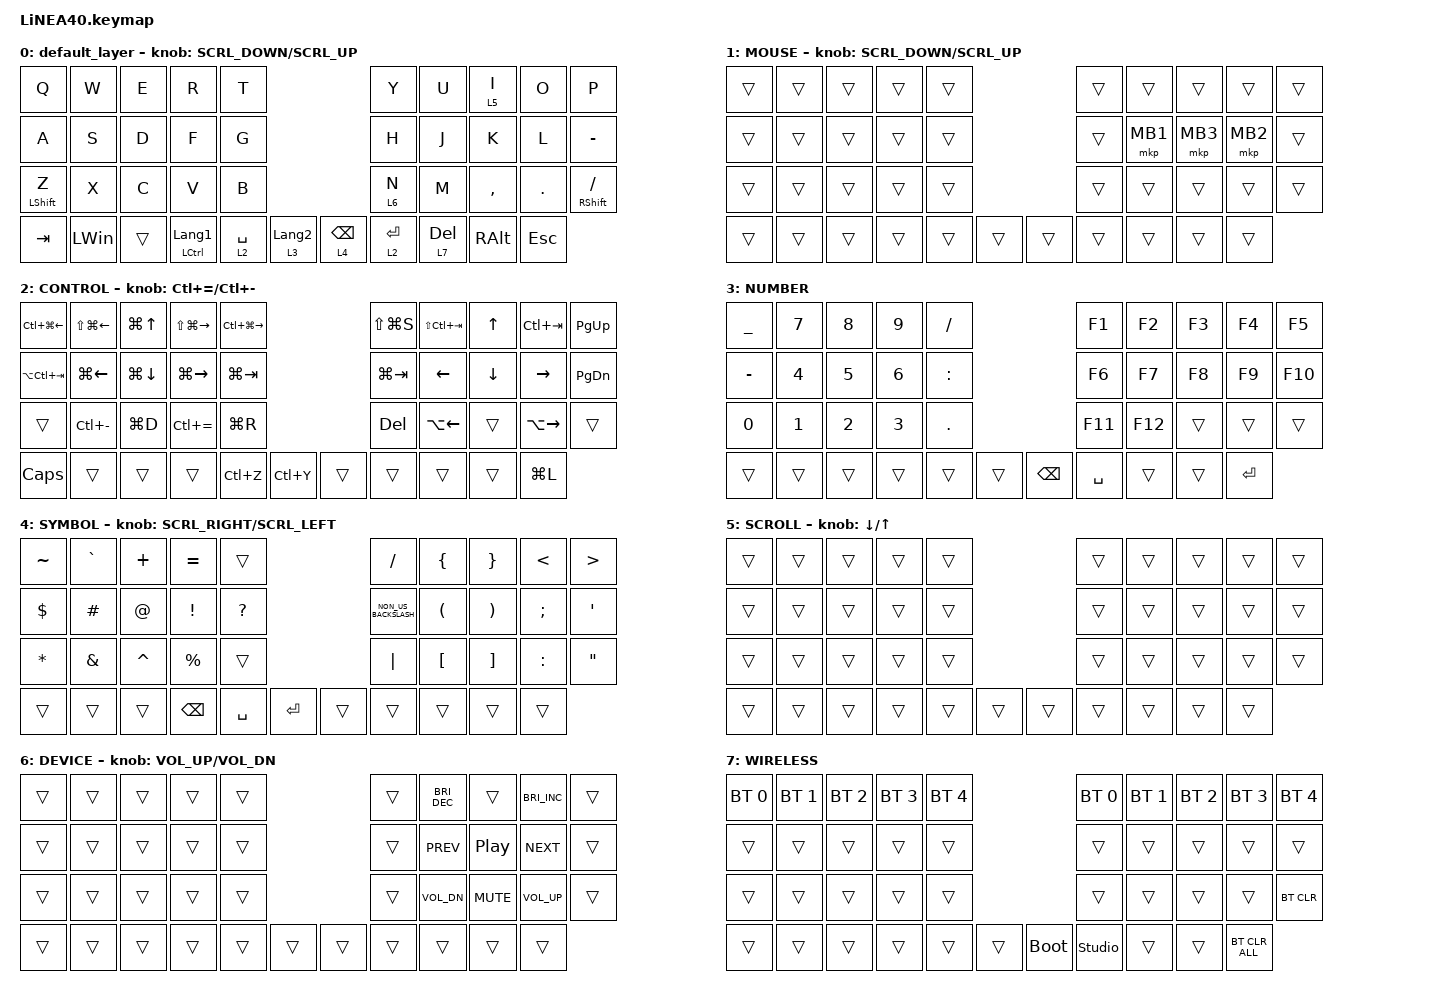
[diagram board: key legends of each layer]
#define ZMK_POINTING_DEFAULT_SCRL_VAL 150

#include <dt-bindings/zmk/input_transform.h>
#include <input/processors.dtsi>
#include <zephyr/dt-bindings/input/input-event-codes.h>
#include <behaviors.dtsi>
#include <dt-bindings/zmk/bt.h>
#include <dt-bindings/zmk/keys.h>
#include <dt-bindings/zmk/pointing.h>

#define MOUSE 1
#define MARK 2
#define CURSOR 3
#define FUNCTION 4
#define SCROLL 5
#define WIRELESS 6

//mouse cursol

&mmv {
    delay-ms = <20>;
    trigger-period-ms = <5>;
    time-to-max-speed-ms = <100>;
    acceleration-exponent = <2>;
};

//mouse scroll

&msc {
    delay-ms = <3>;
    trigger-period-ms = <3>;
    time-to-max-speed-ms = <100>;
    acceleration-exponent = <0>;
};

/ {
    input_processors {
        zip_wheel_scaler: zip_wheel_scaler {
            compatible = "zmk,input-processor-scaler";
            #input-processor-cells = <2>;
            type = <INPUT_EV_REL>;
            codes = <INPUT_REL_WHEEL>;
            track-remainders;
        };
    };
};

&msc_input_listener {
    speed_up {
        layers = <FUNCTION>;
        input-processors = <&zip_wheel_scaler 3 1>; //スクロールを3倍速にする
    };
};

&trackball_listener {
    scroller {
        layers = <SCROLL>;
        input-processors =
            <&zip_xy_transform INPUT_TRANSFORM_Y_INVERT>,
            //スクロール方向を逆転,,,,,,,,,,,,,,,,,,,,,,,,,,,,,,,,,,,,,,,,,,,,
            <&zip_xy_to_scroll_mapper>;
    };
};

/ {
    combos {
        compatible = "zmk,combos";

        Delete {
            bindings = <&kp DEL>;
            key-positions = <7 8>;
        };

        Tab {
            bindings = <&kp TAB>;
            key-positions = <11 10>;
        };

        Esc {
            bindings = <&kp ESCAPE>;
            key-positions = <1 2>;
        };

        Semicolon {
            bindings = <&kp SEMICOLON>;
            key-positions = <18 19>;
        };

        DoubleQuotation {
            bindings = <&kp DOUBLE_QUOTES>;
            key-positions = <28 29>;
        };

        LeftClick {
            bindings = <&mkp MB1>;
            key-positions = <16 17>;
        };

        RightClick {
            bindings = <&mkp MB2>;
            key-positions = <17 18>;
        };
    };

    behaviors {
        re_kp: sensor_rotate_kp {
            compatible = "zmk,behavior-sensor-rotate-var";
            #sensor-binding-cells = <2>;
            bindings = <&kp>, <&kp>;
        };

        mouse_scrl: mouse_wheel_scrl {
            compatible = "zmk,behavior-sensor-rotate-var";
            #sensor-binding-cells = <2>;
            bindings = <&msc>, <&msc>;

            tap-ms = <20>;
        };
    };

    keymap {
        compatible = "zmk,keymap";

        default_layer {
            bindings = <
&kp Q             &kp W         &kp E   &kp R                        &kp T                                             &kp Y        &kp U  &lt 5 I       &kp O          &kp P
&kp A             &kp S         &kp D   &kp F                        &kp G                                             &kp H        &kp J  &kp K         &kp L          &kp MINUS
&mt LEFT_SHIFT Z  &kp X         &kp C   &kp V                        &kp B                                             &lt 6 N      &kp M  &kp COMMA     &kp DOT        &mt RIGHT_SHIFT SLASH
&kp TAB           &kp LEFT_WIN  &trans  &mt LEFT_CONTROL LANGUAGE_1  &lt 2 SPACE  &lt 3 LANGUAGE_2    &lt 4 BACKSPACE  &lt 2 ENTER         &lt 7 DELETE  &kp RIGHT_ALT  &kp ESCAPE
            >;

            sensor-bindings = <&mouse_scrl SCRL_DOWN SCRL_UP>;
        };

        MOUSE {
            bindings = <
&trans  &trans  &trans  &trans  &trans                    &trans  &trans    &trans    &trans    &trans
&trans  &trans  &trans  &trans  &trans                    &trans  &mkp MB1  &mkp MB3  &mkp MB2  &trans
&trans  &trans  &trans  &trans  &trans                    &trans  &trans    &trans    &trans    &trans
&trans  &trans  &trans  &trans  &trans  &trans    &trans  &trans            &trans    &trans    &trans
            >;

            sensor-bindings = <&mouse_scrl SCRL_DOWN SCRL_UP>;
        };

        CONTROL {
            bindings = <
&kp LC(LG(LEFT_ARROW))  &kp LS(LG(LEFT_ARROW))  &kp LG(UP_ARROW)    &kp LS(LG(RIGHT_ARROW))  &kp LC(LG(RIGHT_ARROW))                       &kp LS(LG(S))  &kp LS(LC(TAB))     &kp UP_ARROW    &kp LC(TAB)          &kp PAGE_UP
&kp LA(LC(TAB))         &kp LG(LEFT_ARROW)      &kp LG(DOWN_ARROW)  &kp LG(RIGHT_ARROW)      &kp LG(TAB)                                   &kp LG(TAB)    &kp LEFT_ARROW      &kp DOWN_ARROW  &kp RIGHT_ARROW      &kp PAGE_DOWN
&trans                  &kp LC(MINUS)           &kp LG(D)           &kp LC(EQUAL)            &kp LG(R)                                     &kp DELETE     &kp LA(LEFT_ARROW)  &trans          &kp LA(RIGHT_ARROW)  &trans
&kp CAPSLOCK            &trans                  &trans              &trans                   &kp LC(Z)                &kp LC(Y)    &trans  &trans                             &trans          &trans               &kp LG(L)
            >;

            sensor-bindings = <&re_kp LC(EQUAL) LC(MINUS)>;
        };

        NUMBER {
            bindings = <
&kp UNDERSCORE  &kp N7  &kp N8  &kp N9  &kp SLASH                            &kp F1     &kp F2   &kp F3  &kp F4  &kp F5
&kp MINUS       &kp N4  &kp N5  &kp N6  &kp COLON                            &kp F6     &kp F7   &kp F8  &kp F9  &kp F10
&kp N0          &kp N1  &kp N2  &kp N3  &kp PERIOD                           &kp F11    &kp F12  &trans  &trans  &trans
&trans          &trans  &trans  &trans  &trans      &trans    &kp BACKSPACE  &kp SPACE           &trans  &trans  &kp ENTER
            >;
        };

        SYMBOL {
            bindings = <
&kp TILDE     &kp GRAVE      &kp PLUS     &kp EQUAL        &trans                             &kp SLASH             &kp LEFT_BRACE        &kp RIGHT_BRACE        &kp LESS_THAN  &kp GREATER_THAN
&kp DOLLAR    &kp HASH       &kp AT_SIGN  &kp EXCLAMATION  &kp QUESTION                       &kp NON_US_BACKSLASH  &kp LEFT_PARENTHESIS  &kp RIGHT_PARENTHESIS  &kp SEMICOLON  &kp SQT
&kp ASTERISK  &kp AMPERSAND  &kp CARET    &kp PERCENT      &trans                             &kp PIPE              &kp LEFT_BRACKET      &kp RIGHT_BRACKET      &kp COLON      &kp DOUBLE_QUOTES
&trans        &trans         &trans       &kp BACKSPACE    &kp SPACE     &kp ENTER    &trans  &trans                                      &trans                 &trans         &trans
            >;

            sensor-bindings = <&mouse_scrl SCRL_RIGHT SCRL_LEFT>;
        };

        SCROLL {
            bindings = <
&trans  &trans  &trans  &trans  &trans                    &trans  &trans  &trans  &trans  &trans
&trans  &trans  &trans  &trans  &trans                    &trans  &trans  &trans  &trans  &trans
&trans  &trans  &trans  &trans  &trans                    &trans  &trans  &trans  &trans  &trans
&trans  &trans  &trans  &trans  &trans  &trans    &trans  &trans          &trans  &trans  &trans
            >;

            sensor-bindings = <&inc_dec_kp DOWN_ARROW UP_ARROW>;
        };

        DEVICE {
            bindings = <
&trans  &trans  &trans  &trans  &trans                    &trans  &kp C_BRIGHTNESS_DEC  &trans            &kp C_BRIGHTNESS_INC  &trans
&trans  &trans  &trans  &trans  &trans                    &trans  &kp C_PREV            &kp C_PLAY_PAUSE  &kp C_NEXT            &trans
&trans  &trans  &trans  &trans  &trans                    &trans  &kp C_VOL_DN          &kp C_MUTE        &kp C_VOLUME_UP       &trans
&trans  &trans  &trans  &trans  &trans  &trans    &trans  &trans                        &trans            &trans                &trans
            >;

            sensor-bindings = <&inc_dec_kp C_VOLUME_UP C_VOL_DN>;
        };

        WIRELESS {
            bindings = <
&bt BT_SEL 0  &bt BT_SEL 1  &bt BT_SEL 2  &bt BT_SEL 3  &bt BT_SEL 4                         &bt BT_SEL 0    &bt BT_SEL 1  &bt BT_SEL 2  &bt BT_SEL 3  &bt BT_SEL 4
&trans        &trans        &trans        &trans        &trans                               &trans          &trans        &trans        &trans        &trans
&trans        &trans        &trans        &trans        &trans                               &trans          &trans        &trans        &trans        &bt BT_CLR
&trans        &trans        &trans        &trans        &trans        &trans    &bootloader  &studio_unlock                &trans        &trans        &bt BT_CLR_ALL
            >;
        };
    };
};
